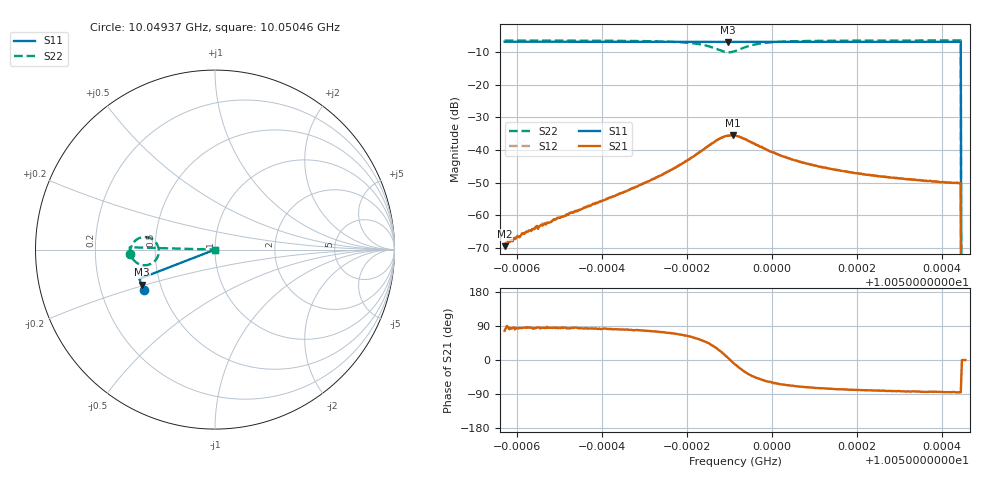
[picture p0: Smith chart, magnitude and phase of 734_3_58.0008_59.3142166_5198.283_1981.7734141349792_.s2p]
#  HZ  S  RI  R  50.00
! Rohde & Schwarz Vector Network Analyzer
! Rohde-Schwarz,ZNB20-2Port,1311601062101988,3.16
! Created: UTC 3/21/2024, 1:23:13 AM
! freq[Hz]  re:S11  im:S11  re:S21  im:S21  re:S12  im:S12  re:S22  im:S22
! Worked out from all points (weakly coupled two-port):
!   401 points, 10.04937 GHz to 10.05046 GHz, reference 50 ohm
!   highest |S21| = -35.45 dB at 10.04991 GHz (marker M1); lowest = -69.4 dB at 10.04937 GHz (marker M2)
!   lowest |S11| = -6.9 dB at 10.0499 GHz (marker M3), VSWR 2.64, Z = 19.7 - j9.7 ohm
!   |S11| at or under -10 dB: 10.05045 GHz to end of sweep
!   |S22| runs from - to -6.5 dB; largest |S21 - S12| = 0.0011
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1.004937e10  -0.3931 -0.2272  7.56e-05 0.000329  3.27e-05 0.000384  -0.4738 -0.0231
1.0049397e10  -0.394 -0.2256  4.3e-05 0.000451  3.31e-05 0.000445  -0.4736 -0.0204
1.004944e10  -0.3954 -0.2231  6.12e-05 0.000622  1.1e-05 0.00061  -0.4733 -0.016
1.0049457e10  -0.3958 -0.2221  5.96e-05 0.000707  2.84e-05 0.000729  -0.4733 -0.0142
1.0049552e10  -0.3986 -0.2164  0.000142 0.00125  6.87e-05 0.00125  -0.4718 -0.00259
1.0049644e10  -0.4014 -0.211  0.000359 0.00215  0.000216 0.00217  -0.4684 0.0117
1.0049734e10  -0.404 -0.2054  0.00105 0.00382  0.000848 0.00392  -0.4587 0.0327
1.0049788e10  -0.4054 -0.202  0.0025 0.00566  0.00219 0.00582  -0.4419 0.0519
1.004985e10  -0.4066 -0.1978  0.00823 0.00811  0.0079 0.00845  -0.3815 0.0696
1.0049875e10  -0.4066 -0.1965  0.0132 0.00644  0.0128 0.00727  -0.3377 0.0487
1.0049897e10  -0.4067 -0.1956  0.0164 0.00158  0.0164 0.00249  -0.3132 -0.0026
1.0049908e10  -0.407 -0.1954  0.0168 -0.00188  0.0167 -0.00076  -0.3169 -0.0331
1.0049913e10  -0.4071 -0.1951  0.0162 -0.00336  0.0162 -0.00222  -0.3228 -0.0468
1.004994e10  -0.4082 -0.1942  0.0119 -0.00804  0.0123 -0.00738  -0.3717 -0.0846
1.0049978e10  -0.4097 -0.192  0.00652 -0.00864  0.00713 -0.00825  -0.4242 -0.0803
1.005003e10  -0.4114 -0.1889  0.00326 -0.0071  0.00372 -0.00693  -0.4533 -0.0579
1.0050095e10  -0.4133 -0.1849  0.00173 -0.00566  0.00209 -0.00557  -0.4661 -0.0371
1.0050168e10  -0.4153 -0.1804  0.00102 -0.00463  0.0013 -0.0046  -0.4711 -0.0215
1.0050277e10  -0.4179 -0.1738  0.000563 -0.0038  0.00078 -0.00376  -0.4738 -0.00532
1.005044e10  -0.4217 -0.1636  0.000272 -0.00311  0.00047 -0.00309  -0.4749 0.0123
1.0050454e10  0 0  0 0  0 0  0 0
1.0050456e10  0 0  0 0  0 0  0 0
